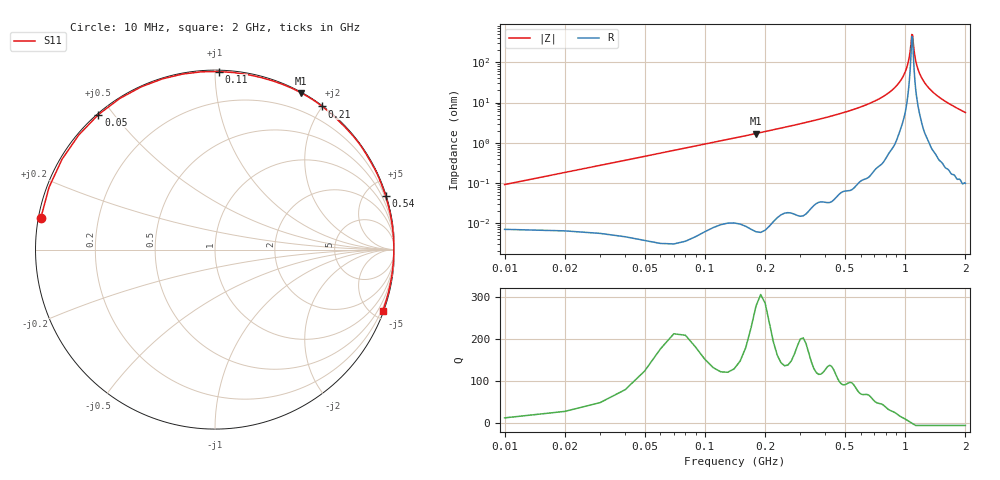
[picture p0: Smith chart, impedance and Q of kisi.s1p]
! H_s8_cap_5: PDN loop: BGA pin field to a 0402 capacitor 5 mm away
! stackup: 8-layer 1.6 mm FR-4 (generic)
! ports: 1 IC pins
! kisi-fdtd, conformal, dfine 0.07 mm, 581526 cells
# Hz S RI R 1
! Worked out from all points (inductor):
!   200 points, 10 MHz to 2 GHz, reference 1 ohm
!   read as one part to ground: L = 1.45 nH near 20 MHz
!   highest Q = 278 at 180 MHz (marker M1), where L = 1.5 nH
!   self-resonance near 1.08 GHz
!   S11 on the Smith chart (normalised r, x): 10 MHz: 0.01, +0.09; 50 MHz: 0.00, +0.46; 110 MHz: 0.01, +1.02; 210 MHz: 0.01, +2.00; 540 MHz: 0.07, +6.46; 2 GHz: 0.10, -5.63
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1e7  -0.9701 0.1775
2e7  -0.9246 0.3474
3e7  -0.8524 0.503
4e7  -0.7588 0.639
5e7  -0.6498 0.7521
6e7  -0.5319 0.8411
7e7  -0.4112 0.9068
8e7  -0.2926 0.9514
9e7  -0.1799 0.9782
1.1e8  0.0205 0.9922
1.2e8  0.1072 0.9861
1.4e8  0.2565 0.9588
1.6e8  0.3794 0.9197
1.8e8  0.4808 0.8733
2.1e8  0.5976 0.7976
2.6e8  0.7239 0.6827
3.1e8  0.8067 0.586
3.6e8  0.8591 0.5035
4.3e8  0.908 0.4117
5.1e8  0.9409 0.3282
5.4e8  0.9503 0.3012
6.5e8  0.9728 0.2175
7.6e8  0.9853 0.1503
1.01e9  0.9961 0.0305
1.26e9  0.994 -0.0671
1.51e9  0.9833 -0.1573
1.76e9  0.9636 -0.2482
2e9  0.9332 -0.3423
